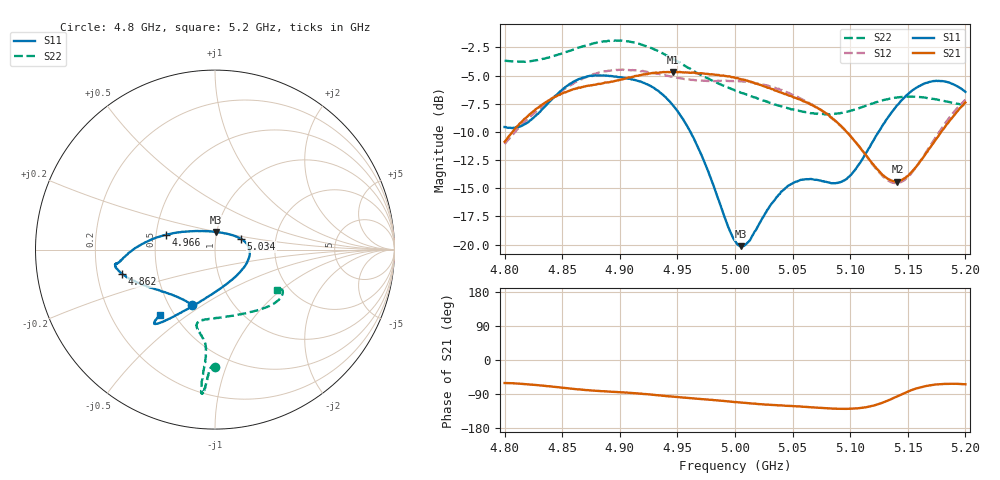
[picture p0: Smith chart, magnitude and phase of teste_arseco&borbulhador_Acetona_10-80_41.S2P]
! Network Analyzer HP8722D
! Hewlett-Packard
! Data name: Linha & Wilkinson
! Saver's name: Rodrigo Anjos
! Comments: Teste da utilização de aquisição
! continua pelo VNA HP8722D
! Time and date: 17/4/2025 14:42
!  Frequency  S11  S21  S12  S22
# HZ  S  MA R 50
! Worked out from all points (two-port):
!   401 points, 4.8 GHz to 5.2 GHz, reference 50 ohm
!   highest |S21| = -4.67 dB at 4.946 GHz (marker M1); lowest = -14.4 dB at 5.141 GHz (marker M2)
!   |S21| within 3 dB of the highest: 4.831 GHz to 5.068 GHz (236.7 MHz wide, 4.78 % of centre); 5.197452 GHz to end of sweep
!   lowest |S11| = -20.1 dB at 5.005 GHz (marker M3), VSWR 1.22, Z = 49.8 + j9.87 ohm
!   |S11| at or under -10 dB: 4.961 GHz to 5.125 GHz (163.3 MHz wide, 3.24 % of centre)
!   |S22| runs from -8.5 to -1.9 dB; largest |S21 - S12| = 0.88
!   S11 on the Smith chart (normalised r, x): 4.8 GHz: 0.65, -0.45; 4.862 GHz: 0.31, -0.12; 4.966 GHz: 0.57, +0.10; 5.034 GHz: 1.33, +0.16; 5.2 GHz: 0.42, -0.39
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4.8e9  0.3326 -113.0  0.2859 -60.7  0.2797 -174.9  0.6559 -89.9
4.819e9  0.3458 -132.9  0.3672 -63.8  0.3563 -173.4  0.6509 -91.4
4.862e9  0.535 -165.4  0.4928 -76.9  0.5275 -176.6  0.7422 -93.7
4.867e9  0.5485 -167.4  0.5002 -78.5  0.5415 -177.5  0.7553 -93.9
4.9e9  0.5534 -172.0  0.5379 -84.9  0.5966 175.9  0.8031 -95.2
4.934e9  0.4777 -178.0  0.5793 -93.3  0.5734 171.9  0.7184 -95.7
4.946e9  0.4159 176.5  0.5841 -96.7  0.5553 172.2  0.6673 -95.3
4.966e9  0.2836 163.0  0.5765 -102.0  0.5357 174.0  0.5813 -94.9
5e9  0.1041 103.0  0.5497 -111.1  0.5331 176.4  0.4828 -99.1
5.005e9  0.09846 85.8  0.5428 -112.3  0.5298 176.3  0.4717 -100.3
5.012e9  0.1032 62.8  0.5289 -114.1  0.5262 176.0  0.4592 -101.8
5.034e9  0.1572 22.1  0.4846 -118.8  0.4968 175.0  0.4186 -103.6
5.049e9  0.1858 6.5  0.4555 -121.3  0.4646 174.3  0.3974 -100.1
5.067e9  0.195 -12.5  0.4162 -125.0  0.4189 173.8  0.3827 -91.1
5.086e9  0.1874 -42.6  0.3586 -128.3  0.3577 173.6  0.3803 -76.6
5.097e9  0.1957 -65.2  0.3159 -128.9  0.3159 174.7  0.3886 -67.5
5.134e9  0.3737 -115.8  0.1943 -105.3  0.191 -158.3  0.4438 -42.9
5.141e9  0.4168 -119.8  0.1903 -95.5  0.1877 -147.2  0.4496 -39.9
5.153e9  0.4793 -124.9  0.2091 -79.7  0.207 -129.0  0.4534 -35.7
5.17e9  0.5286 -128.5  0.272 -66.4  0.278 -112.7  0.445 -31.9
5.184e9  0.5266 -129.8  0.3427 -63.0  0.354 -107.1  0.4316 -30.9
5.2e9  0.4762 -130.2  0.427 -64.2  0.4395 -106.3  0.4147 -33.2
